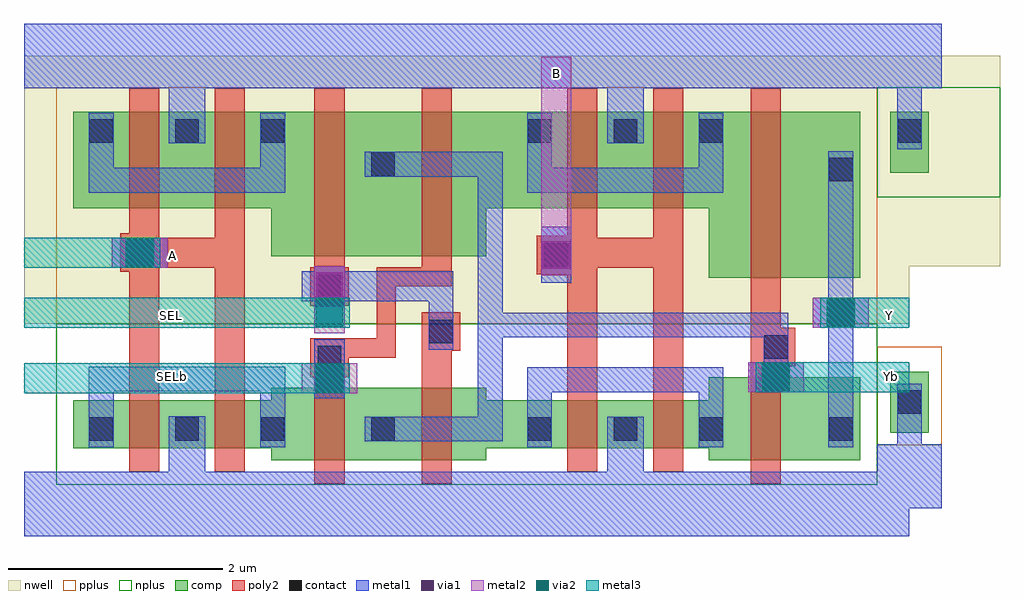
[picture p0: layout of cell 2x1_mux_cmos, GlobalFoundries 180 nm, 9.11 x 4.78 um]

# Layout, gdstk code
from math import pi, radians
import gdstk
lib = gdstk.Library(unit=1e-6, precision=5e-09)
def R(c, l, rs):  # rectangles x0, y0, x1, y1
    for r in rs: c.add(gdstk.rectangle(r[:2], r[2:], *l))
def A(c, l, x, y, w, h, nx, ny, dx, dy):  # array of equal rectangles
    R(c, l, [(x+i*dx, y+j*dy, x+i*dx+w, y+j*dy+h) for i in range(nx) for j in range(ny)])
nwell = (21, 0)
comp = (22, 0)
poly2 = (30, 0)
pplus = (31, 0)
nplus = (32, 0)
contact = (33, 0)
metal1 = (34, 0)
via1 = (35, 0)
metal2 = (36, 0)
via2 = (38, 0)
metal3 = (42, 0)

bulk_tie = lib.new_cell('bulk_tie')
R(bulk_tie, nwell, [(0.1,4.5,2.06,5.645)])
R(bulk_tie, comp, [(0.62,4.62,1.19,4.98), (3.045,4.62,3.615,4.98)])
R(bulk_tie, pplus, [(2.815,4.5,3.73,5.1)])
R(bulk_tie, nplus, [(0.39,4.5,1.42,5.645)])
R(bulk_tie, contact, [(0.69,4.69,0.91,4.91), (3.22,4.69,3.44,4.91)])
R(bulk_tie, metal1, [(-0.2,4.5,0.4,5.1), (3.72,4.5,4.32,5.1), (0.4,4.685,0.97,4.915), (3.16,4.685,3.72,4.915)])

c_2x1_mux_cmos = lib.new_cell('2x1_mux_cmos')
R(c_2x1_mux_cmos, nwell, [(-5.465,-1.9,2.795,0.6)])
R(c_2x1_mux_cmos, comp, [(-3.16,-3.17,-1.155,-2.495), (0.925,-3.17,2.335,-2.395), (-5.005,-3.06,0.925,-2.61), (0.925,-1.47,2.335,0.08), (-3.16,-1.27,-1.155,0.08), (-5.005,-0.82,0.925,0.08)])
R(c_2x1_mux_cmos, poly2, [(-2.755,-3.39,-2.475,-2.395), (-1.755,-3.39,-1.475,-2.15), (1.315,-3.39,1.595,0.3), (-4.485,-3.28,-4.205,0.3), (-3.685,-3.28,-3.405,0.3), (-0.395,-3.28,-0.115,0.3), (0.405,-3.28,0.685,0.3), (-2.795,-2.395,-2.435,-2.035), (1.37,-2.295,1.73,-1.935), (-2.435,-2.215,-2.175,-2.035), (-2.175,-2.215,-1.995,-1.37), (-1.755,-2.15,-1.395,-1.79), (-2.795,-1.73,-2.435,-1.37), (-1.995,-1.55,-1.755,-1.37), (-1.755,-1.55,-1.475,0.3), (-0.68,-1.435,-0.32,-1.075), (-4.565,-1.415,-4.205,-1.055), (-4.205,-1.375,-3.685,-1.095), (-0.115,-1.375,0.405,-1.095), (-2.755,-1.37,-2.475,0.3)])
R(c_2x1_mux_cmos, pplus, [(-5.165,-1.9,2.495,0.31)])
R(c_2x1_mux_cmos, nplus, [(-5.165,-3.4,2.495,-1.9)])
A(c_2x1_mux_cmos, contact, -4.855, -2.99, 0.22, 0.22, 3, 2, 0.8, 2.78)
A(c_2x1_mux_cmos, contact, -0.765, -2.99, 0.22, 0.22, 3, 2, 0.8, 2.78)
R(c_2x1_mux_cmos, contact, [(-2.225,-2.99,-2.005,-2.77), (2.045,-2.99,2.265,-2.77), (-2.725,-2.325,-2.505,-2.105), (1.44,-2.225,1.66,-2.005), (-1.685,-2.08,-1.465,-1.86), (-2.725,-1.66,-2.505,-1.44), (-0.61,-1.365,-0.39,-1.145), (-4.495,-1.345,-4.275,-1.125), (2.045,-0.57,2.265,-0.35), (-2.225,-0.52,-2.005,-0.3)])
R(c_2x1_mux_cmos, metal1, [(-5.465,-3.88,2.795,-3.28), (-4.115,-3.28,-3.775,-2.76), (-0.025,-3.28,0.315,-2.765), (-4.86,-3.05,-4.63,-2.53), (-3.26,-3.05,-3.03,-2.53), (-0.77,-3.05,-0.54,-2.535), (0.83,-3.05,1.06,-2.535), (2.04,-3.05,2.27,-0.29), (-2.285,-2.995,-1,-2.765), (-1.23,-2.765,-1,-0.525), (-2.755,-2.595,-2.475,-2.045), (-0.77,-2.535,1.06,-2.305), (1.29,-2.535,1.81,-2.255), (-4.86,-2.53,-3.03,-2.3), (1.435,-2.255,1.665,-2.025), (-1.69,-2.14,-1.46,-1.69), (-1,-2.025,1.665,-1.795), (1.895,-1.935,2.415,-1.655), (-2.755,-1.74,-2.475,-1.36), (-2.875,-1.69,-1.46,-1.41), (-0.64,-1.515,-0.36,-0.995), (-4.645,-1.375,-4.125,-1.095), (-4.86,-0.675,-3.03,-0.445), (-0.77,-0.675,1.06,-0.445), (-2.285,-0.525,-1,-0.295), (-4.86,-0.445,-4.63,0.07), (-3.26,-0.445,-3.03,0.07), (-0.77,-0.445,-0.54,0.07), (0.83,-0.445,1.06,0.07), (-4.115,-0.215,-3.775,0.3), (-0.025,-0.215,0.315,0.3), (-5.465,0.3,2.795,0.9)])
R(c_2x1_mux_cmos, via1, [(-2.745,-2.535,-2.485,-2.275), (1.42,-2.525,1.68,-2.265), (2.025,-1.925,2.285,-1.665), (-2.745,-1.68,-2.485,-1.42), (-0.63,-1.385,-0.37,-1.125), (-4.515,-1.365,-4.255,-1.105)])
R(c_2x1_mux_cmos, metal2, [(-2.875,-2.545,-2.355,-2.265), (1.29,-2.535,1.81,-2.255), (-2.755,-1.985,-2.475,-1.36), (1.895,-1.935,2.415,-1.655), (-0.64,-1.445,-0.36,0.595), (-4.645,-1.375,-4.125,-1.095)])
R(c_2x1_mux_cmos, via2, [(-2.745,-2.535,-2.485,-2.275), (1.42,-2.525,1.68,-2.265), (-2.745,-1.925,-2.485,-1.665), (2.025,-1.925,2.285,-1.665), (-4.515,-1.365,-4.255,-1.105)])
R(c_2x1_mux_cmos, metal3, [(-5.465,-2.545,-2.425,-2.265), (1.36,-2.535,2.795,-2.255), (-5.465,-1.935,-2.425,-1.655), (1.965,-1.935,2.795,-1.655), (-5.465,-1.375,-4.195,-1.095)])
c_2x1_mux_cmos.add(gdstk.Reference(bulk_tie, (-2.005,0.7), rotation=3*pi/2))
c_2x1_mux_cmos.add(gdstk.Label('Yb', (2.625,-2.39), layer=42, texttype=10))
c_2x1_mux_cmos.add(gdstk.Label('Y', (2.605,-1.825), layer=42, texttype=10))
c_2x1_mux_cmos.add(gdstk.Label('A', (-4.075,-1.26), layer=42, texttype=10))
c_2x1_mux_cmos.add(gdstk.Label('SEL', (-4.09,-1.825), layer=42, texttype=10))
c_2x1_mux_cmos.add(gdstk.Label('SELb', (-4.075,-2.39), layer=42, texttype=10))
c_2x1_mux_cmos.add(gdstk.Label('B', (-0.5,0.44), layer=36, texttype=10))

lib.write_gds('2x1_mux_cmos.gds')
